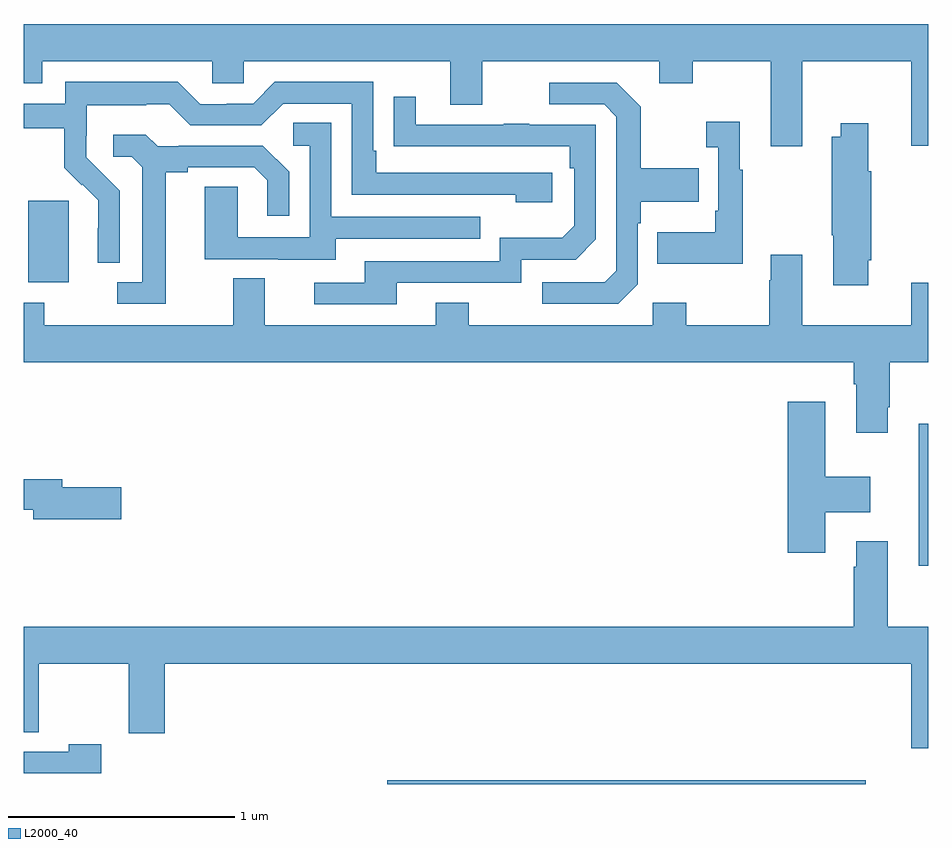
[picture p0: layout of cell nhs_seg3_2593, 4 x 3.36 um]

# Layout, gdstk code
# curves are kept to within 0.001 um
import gdstk
lib = gdstk.Library(unit=1e-6, precision=1e-09)
def R(c, l, rs):  # rectangles x0, y0, x1, y1
    for r in rs: c.add(gdstk.rectangle(r[:2], r[2:], *l))
def P(c, l, *ps):  # polygons
    for p in ps: c.add(gdstk.Polygon(p, *l))
L2000_40 = (2000, 40)

nhs_seg3_2593 = lib.new_cell('nhs_seg3_2593')
R(nhs_seg3_2593, L2000_40, [(246.607,684.4,248.722,684.416), (248.957,685.365,249,685.993), (245.021,686.618,245.2,686.979)])
P(nhs_seg3_2593, L2000_40, [(248.443,687.596),(248.924,687.596),(248.924,687.222),(249,687.222),(249,687.76),(245,687.76),(245,687.497),(245.083,687.497),(245.083,687.596),(245.835,687.596),(245.835,687.498),(245.973,687.498),(245.973,687.596),(246.887,687.596),(246.887,687.402),(247.027,687.402),(247.027,687.596),(247.811,687.596),(247.811,687.497),(247.959,687.497),(247.959,687.596),(248.303,687.596),(248.303,687.219),(248.443,687.219)],
  [(245.424,687.022),(245.278,687.17),(245.278,687.267),(245.28,687.267),(245.28,687.401),(245.543,687.401),(245.543,687.405),(245.643,687.405),(245.736,687.312),(246.051,687.312),(246.147,687.408),(246.45,687.408),(246.45,687.006),(247.175,687.006),(247.175,686.972),(247.336,686.972),(247.336,687.102),(246.559,687.102),(246.559,687.199),(246.546,687.199),(246.546,687.504),(246.111,687.504),(246.015,687.408),(245.897,687.408),(245.897,687.405),(245.781,687.405),(245.681,687.505),(245.184,687.505),(245.184,687.408),(245,687.408),(245,687.3),(245.179,687.3),(245.179,687.125),(245.256,687.048),(245.259,687.051),(245.33,686.981),(245.33,686.858),(245.328,686.858),(245.328,686.704),(245.424,686.704)],
  [(247.716,686.61),(247.716,686.879),(247.729,686.879),(247.729,686.975),(247.985,686.975),(247.985,687.123),(247.729,687.123),(247.729,687.395),(247.623,687.501),(247.323,687.501),(247.323,687.405),(247.566,687.405),(247.62,687.351),(247.62,686.67),(247.569,686.619),(247.293,686.619),(247.293,686.523),(247.629,686.523)],
  [(246.649,686.616),(247.2,686.616),(247.2,686.718),(247.44,686.718),(247.53,686.808),(247.53,687.315),(247.235,687.315),(247.235,687.32),(247.123,687.32),(247.123,687.315),(246.733,687.315),(246.733,687.439),(246.637,687.439),(246.637,687.22),(247.414,687.219),(247.414,687.122),(247.434,687.122),(247.434,686.868),(247.381,686.815),(247.104,686.815),(247.104,686.712),(246.509,686.712),(246.509,686.616),(246.285,686.616),(246.285,686.52),(246.649,686.52)],
  [(248.179,687.115),(248.167,687.115),(248.167,687.328),(248.019,687.328),(248.019,687.215),(248.07,687.215),(248.07,686.935),(248.058,686.935),(248.058,686.839),(247.801,686.839),(247.801,686.699),(248.179,686.699)],
  [(246.379,686.811),(247.019,686.811),(247.019,686.907),(246.36,686.907),(246.36,687.323),(246.192,687.323),(246.192,687.222),(246.264,687.222),(246.264,686.817),(245.946,686.817),(245.946,687.041),(245.801,687.041),(245.801,686.721),(246.125,686.721),(246.125,686.717),(246.379,686.717)],
  [(248.734,686.716),(248.747,686.716),(248.747,687.109),(248.734,687.109),(248.734,687.322),(248.612,687.322),(248.612,687.262),(248.572,687.262),(248.572,686.827),(248.579,686.827),(248.579,686.604),(248.734,686.604)],
  [(245.629,687.104),(245.725,687.104),(245.725,687.126),(246.02,687.126),(246.077,687.069),(246.077,686.913),(246.174,686.913),(246.174,687.106),(246.058,687.222),(245.686,687.222),(245.686,687.219),(245.592,687.219),(245.54,687.271),(245.397,687.271),(245.397,687.174),(245.478,687.174),(245.525,687.127),(245.525,686.619),(245.415,686.619),(245.415,686.523),(245.629,686.523)],
  [(248.821,686.065),(248.829,686.065),(248.829,686.264),(249,686.264),(249,686.617),(248.924,686.617),(248.924,686.428),(248.443,686.428),(248.443,686.74),(248.303,686.74),(248.303,686.627),(248.296,686.627),(248.296,686.428),(247.929,686.428),(247.929,686.527),(247.782,686.527),(247.782,686.428),(246.969,686.428),(246.969,686.527),(246.821,686.527),(246.821,686.428),(246.067,686.428),(246.067,686.636),(245.927,686.636),(245.927,686.428),(245.091,686.428),(245.091,686.527),(245,686.527),(245,686.264),(248.669,686.264),(248.669,686.168),(248.681,686.168),(248.681,685.953),(248.821,685.953)],
  [(248.545,685.601),(248.743,685.601),(248.743,685.759),(248.545,685.759),(248.545,686.089),(248.378,686.089),(248.378,685.422),(248.545,685.422)],
  [(245.431,685.712),(245.17,685.712),(245.17,685.748),(245,685.748),(245,685.612),(245.042,685.612),(245.042,685.57),(245.431,685.57)],
  [(249,685.096),(248.821,685.096),(248.821,685.474),(248.681,685.474),(248.681,685.361),(248.669,685.361),(248.669,685.096),(245,685.096),(245,684.628),(245.066,684.628),(245.066,684.932),(245.464,684.932),(245.464,684.624),(245.624,684.624),(245.624,684.932),(248.924,684.932),(248.924,684.558),(249,684.558)],
  [(245.344,684.576),(245.199,684.576),(245.199,684.543),(245,684.543),(245,684.447),(245.344,684.447)])

lib.write_gds('nhs_seg3_2593.gds')
